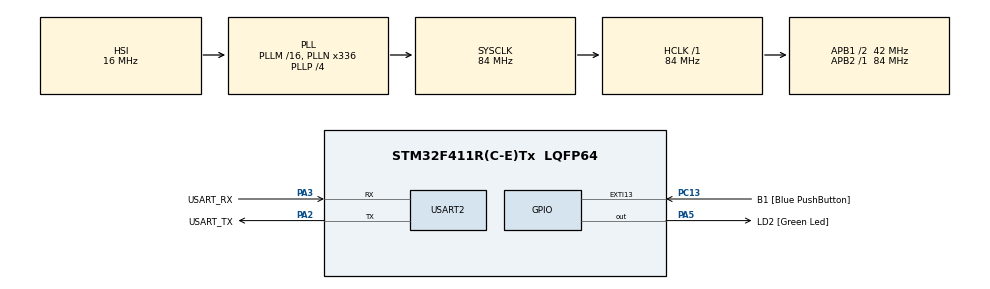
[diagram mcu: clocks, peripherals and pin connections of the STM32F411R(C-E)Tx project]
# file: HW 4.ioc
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IWDG.Prescaler=IWDG_PRESCALER_64
Mcu.Family=STM32F4
Mcu.Name=STM32F411R(C-E)Tx
Mcu.Package=LQFP64
NVIC.PriorityGroup=NVIC_PRIORITYGROUP_0
PA13.GPIO_Label=TMS
PA13.Mode=Serial_Wire
PA13.Signal=SYS_JTMS-SWDIO
PA14.GPIO_Label=TCK
PA14.Mode=Serial_Wire
PA14.Signal=SYS_JTCK-SWCLK
PA2.GPIO_Label=USART_TX
PA2.Mode=Asynchronous
PA2.Signal=USART2_TX
PA3.GPIO_Label=USART_RX
PA3.Mode=Asynchronous
PA3.Signal=USART2_RX
PA5.GPIO_Label=LD2 [Green Led]
PA5.Signal=GPIO_Output
PB3.GPIO_Label=SWO
PB3.Signal=SYS_JTDO-SWO
PC13-ANTI_TAMP.GPIO_Label=B1 [Blue PushButton]
PC13-ANTI_TAMP.GPIO_ModeDefaultEXTI=GPIO_MODE_IT_FALLING
PC13-ANTI_TAMP.Signal=GPXTI13
PC14-OSC32_IN.Mode=LSE-External-Oscillator
PC14-OSC32_IN.Signal=RCC_OSC32_IN
PC15-OSC32_OUT.Mode=LSE-External-Oscillator
PC15-OSC32_OUT.Signal=RCC_OSC32_OUT
PH0\ -\ OSC_IN.Mode=HSE-External-Clock-Source
PH0\ -\ OSC_IN.Signal=RCC_OSC_IN
PH1\ -\ OSC_OUT.Mode=HSE-External-Clock-Source
PH1\ -\ OSC_OUT.Signal=RCC_OSC_OUT
ProjectManager.HeapSize=0x200
ProjectManager.StackSize=0x400
ProjectManager.TargetToolchain=STM32CubeIDE
RCC.48MHZClocksFreq_Value=84000000
RCC.AHBFreq_Value=84000000
RCC.APB1CLKDivider=RCC_HCLK_DIV2
RCC.APB1Freq_Value=42000000
RCC.APB1TimFreq_Value=84000000
RCC.APB2Freq_Value=84000000
RCC.APB2TimFreq_Value=84000000
RCC.CortexFreq_Value=84000000
RCC.FLatency-AdvancedSettings=FLASH_LATENCY_2
RCC.HCLKFreq_Value=84000000
RCC.HSE_VALUE=8000000
RCC.HSI_VALUE=16000000
RCC.PLLN=336
RCC.PLLP=RCC_PLLP_DIV4
RCC.SYSCLKFreq_VALUE=84000000
RCC.SYSCLKSource=RCC_SYSCLKSOURCE_PLLCLK
RCC.VCOOutputFreq_Value=336000000
USART2.VirtualMode=VM_ASYNC
VP_IWDG_VS_IWDG.Mode=IWDG_Activate
board=NUCLEO-F411RE

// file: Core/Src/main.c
/* USER CODE BEGIN Header */
/**
  ******************************************************************************
  * @file           : main.c
  * @brief          : Main program body
  ******************************************************************************
  * @attention
  *
  * Copyright (c) 2026 STMicroelectronics.
  * All rights reserved.
  *
  * This software is licensed under terms that can be found in the LICENSE file
  * in the root directory of this software component.
  * If no LICENSE file comes with this software, it is provided AS-IS.
  *
  ******************************************************************************
  */
/* USER CODE END Header */
#include "main.h"

/* USER CODE BEGIN Includes */
#include "stm32f4xx_ll_rcc.h"
/* USER CODE END Includes */

/* USER CODE BEGIN PD */
/* ------------------- НАСТРОЙКИ IWDG (сторожевой таймер) ------------------- */
// ============================================================================

/* ------------------- НАСТРОЙКИ LED ИНДИКАЦИИ ----------------------------- */
/* LED2 на NUCLEO-F411RE подключен к PA5 */
#define LED_PORT                GPIOA
#define LED_PIN                 GPIO_PIN_5

/* ------------------- НАСТРОЙКИ КНОПКИ ------------------------------------ */
/* Пользовательская кнопка на NUCLEO-F411RE подключена к PC13 */
#define BUTTON_PORT             GPIOC
#define BUTTON_PIN              GPIO_PIN_13
#define BUTTON_PRESSED          GPIO_PIN_RESET      /* Кнопка замыкает на GND */
#define BUTTON_DEBOUNCE_MS      50                  /* Антидребезг, мс */

/* Настройки таймингов */
#define MAIN_LOOP_PERIOD_MS     1       /* Частота основного цикла */
#define BUTTON_POLL_PERIOD_MS   10      /* Опрос кнопки каждые 10 мс */
#define DEBOUNCE_TIME_MS        50      /* Время антидребезга */
#define RELEASE_TIMEOUT_MS      2000    /* Макс. время удержания кнопки */
// ============================================================================

/* USER CODE END PD */

IWDG_HandleTypeDef hiwdg;

UART_HandleTypeDef huart2;

/* USER CODE BEGIN PV */
// ============================================================================

/* Структура для хранения сырых битов регистра CSR (для отладки) */
typedef struct
{
    uint32_t raw_value;      /* Полное значение регистра CSR */

    /* Биты состояния LSI (биты 0-1) */
    uint8_t lsion_0;           /* Бит 0 - LSI включен */
    uint8_t lsirdy_1;          /* Бит 1 - LSI готов */

    /* Флаги сброса (биты 25-31) */
    uint8_t borrst_25;          /* Бит 25 - BOR reset flag */
    uint8_t pinrst_26;          /* Бит 26 - PIN reset flag (кнопка Reset) */
    uint8_t porrst_27;          /* Бит 27 - POR/PDR reset flag (включение питания) */
    uint8_t sftrst_28;          /* Бит 28 - Software reset flag */
    uint8_t iwdgrst_29;          /* Бит 29 - IWDG reset flag */
    uint8_t wwdgrst_30;         /* Бит 30 - WWDG reset flag */
    uint8_t lpwrrst_31;         /* Бит 31 - Low-power reset flag */

    /* Бит управления */
    uint8_t rmvf_24;            /* Бит 24 - Remove reset flag (очистка) */
} RawCSR_t;

RawCSR_t g_csr = {0};    /* Для отладки: сырые флаги ДО очистки */

/* Таймеры для неблокирующей работы (в мс) */
typedef struct
{
    uint32_t main_loop;      /* Для периодических задач в main */
    uint32_t button_check;   /* Для опроса кнопки */
    uint32_t debounce_start; /* Начало дебаунса */
    uint32_t release_wait;   /* Таймаут ожидания отпускания */

    /* Флаги состояния кнопки */
    uint8_t button_state;    /* 0=отпущена, 1=нажата, 2=дебаунс, 3=ожидание отпускания */
    uint8_t feed_requested;  /* Флаг: нужно покормить IWDG */

} Timing_t;

Timing_t g_tim = {0};

/* Переменные для неблокирующего мигания LED */
static uint32_t last_led_toggle = 0;
static uint8_t led_state = 0;

// ============================================================================
/* USER CODE END PV */

void SystemClock_Config(void);
static void MX_GPIO_Init(void);
static void MX_USART2_UART_Init(void);
static void MX_IWDG_Init(void);
/* USER CODE BEGIN PFP */
// ============================================================================
static void Read_Raw_CSR(RawCSR_t *raw);
//static void Check_And_Feed_Watchdog(void);
void Error_Handler(void);
static uint8_t Check_Button_Simple(void);

// ============================================================================

/* USER CODE END PFP */

int main(void)
{

  /* MCU Configuration--------------------------------------------------------*/

  /* Reset of all peripherals, Initializes the Flash interface and the Systick. */
  HAL_Init();

  /* Configure the system clock */
  SystemClock_Config();

  /* Initialize all configured peripherals */
  MX_GPIO_Init();
  MX_USART2_UART_Init();
  MX_IWDG_Init();
  /* USER CODE BEGIN 2 */

  // ===========================================================================
  /* Чтение сырых флагов CSR ДО очистки (для отладки) */
  Read_Raw_CSR(&g_csr);

  /* LED индикация причины сброса (при старте) */
  /* LED индикация причины сброса (неблокирующая версия) */
  if (g_csr.iwdgrst_29)
  {
      uint32_t blink_start = HAL_GetTick();
      uint8_t blink_count = 0;
      uint8_t blink_state = 0;

      while (blink_count < 6)  /* 3 вспышки = 6 переключений */
      {
          uint32_t now = HAL_GetTick();
          if (now - blink_start >= 100)  /* 100 мс на состояние */
          {
              blink_start = now;
              blink_state = !blink_state;
              HAL_GPIO_WritePin(LED_PORT, LED_PIN, blink_state ? GPIO_PIN_SET : GPIO_PIN_RESET);
              if (blink_state == 0) blink_count++;  /* Считаем только выключения */
          }
      }
      HAL_GPIO_WritePin(LED_PORT, LED_PIN, GPIO_PIN_RESET);  /* Гарантированно выключить */
  }

  // ===========================================================================

  /* USER CODE END 2 */

  /* Infinite loop */
  /* USER CODE BEGIN WHILE */
  // ===========================================================================
  /* Инициализация переменных для неблокирующего тайминга */
  last_led_toggle = HAL_GetTick();

  while (1)
  {
      uint32_t now = HAL_GetTick();

      /* 1. Проверка кнопки и кормление watchdog*/
      if (Check_Button_Simple()) {
          HAL_IWDG_Refresh(&hiwdg);

          /* Визуальный отклик: короткая вспышка */
          HAL_GPIO_WritePin(LED_PORT, LED_PIN, GPIO_PIN_SET);
          /* Сбросим отклик через 50 мс в следующем шаге */
      }

      /* 2. Периодическое мигание LED (индикация работы) - 1 Гц */
      if (now - last_led_toggle >= 500)
      {
          last_led_toggle = now;
          led_state = !led_state;

          /* Меняем LED только если нет активного отклика на кнопку */
          /* (отклик сбрасывается автоматически при следующем проходе) */
          HAL_GPIO_WritePin(LED_PORT, LED_PIN, led_state ? GPIO_PIN_SET : GPIO_PIN_RESET);
      }

      // ===========================================================================
    /* USER CODE END WHILE */

  }
}

void SystemClock_Config(void)
{
  RCC_OscInitTypeDef RCC_OscInitStruct = {0};
  RCC_ClkInitTypeDef RCC_ClkInitStruct = {0};

  /** Configure the main internal regulator output voltage
  */
  __HAL_RCC_PWR_CLK_ENABLE();
  __HAL_PWR_VOLTAGESCALING_CONFIG(PWR_REGULATOR_VOLTAGE_SCALE1);

  /** Initializes the RCC Oscillators according to the specified parameters
  * in the RCC_OscInitTypeDef structure.
  */
  RCC_OscInitStruct.OscillatorType = RCC_OSCILLATORTYPE_HSI|RCC_OSCILLATORTYPE_LSI;
  RCC_OscInitStruct.HSIState = RCC_HSI_ON;
  RCC_OscInitStruct.HSICalibrationValue = RCC_HSICALIBRATION_DEFAULT;
  RCC_OscInitStruct.LSIState = RCC_LSI_ON;
  RCC_OscInitStruct.PLL.PLLState = RCC_PLL_ON;
  RCC_OscInitStruct.PLL.PLLSource = RCC_PLLSOURCE_HSI;
  RCC_OscInitStruct.PLL.PLLM = 16;
  RCC_OscInitStruct.PLL.PLLN = 336;
  RCC_OscInitStruct.PLL.PLLP = RCC_PLLP_DIV4;
  RCC_OscInitStruct.PLL.PLLQ = 4;
  if (HAL_RCC_OscConfig(&RCC_OscInitStruct) != HAL_OK)
  {
    Error_Handler();
  }

  /** Initializes the CPU, AHB and APB buses clocks
  */
  RCC_ClkInitStruct.ClockType = RCC_CLOCKTYPE_HCLK|RCC_CLOCKTYPE_SYSCLK
                              |RCC_CLOCKTYPE_PCLK1|RCC_CLOCKTYPE_PCLK2;
  RCC_ClkInitStruct.SYSCLKSource = RCC_SYSCLKSOURCE_PLLCLK;
  RCC_ClkInitStruct.AHBCLKDivider = RCC_SYSCLK_DIV1;
  RCC_ClkInitStruct.APB1CLKDivider = RCC_HCLK_DIV2;
  RCC_ClkInitStruct.APB2CLKDivider = RCC_HCLK_DIV1;

  if (HAL_RCC_ClockConfig(&RCC_ClkInitStruct, FLASH_LATENCY_2) != HAL_OK)
  {
    Error_Handler();
  }
}

static void MX_IWDG_Init(void)
{

  hiwdg.Instance = IWDG;
  hiwdg.Init.Prescaler = IWDG_PRESCALER_64;
  hiwdg.Init.Reload = 4095;
  if (HAL_IWDG_Init(&hiwdg) != HAL_OK)
  {
    Error_Handler();
  }

}

static void MX_USART2_UART_Init(void)
{

  huart2.Instance = USART2;
  huart2.Init.BaudRate = 115200;
  huart2.Init.WordLength = UART_WORDLENGTH_8B;
  huart2.Init.StopBits = UART_STOPBITS_1;
  huart2.Init.Parity = UART_PARITY_NONE;
  huart2.Init.Mode = UART_MODE_TX_RX;
  huart2.Init.HwFlowCtl = UART_HWCONTROL_NONE;
  huart2.Init.OverSampling = UART_OVERSAMPLING_16;
  if (HAL_UART_Init(&huart2) != HAL_OK)
  {
    Error_Handler();
  }

}

static void MX_GPIO_Init(void)
{
  GPIO_InitTypeDef GPIO_InitStruct = {0};

  /* GPIO Ports Clock Enable */
  __HAL_RCC_GPIOC_CLK_ENABLE();
  __HAL_RCC_GPIOH_CLK_ENABLE();
  __HAL_RCC_GPIOA_CLK_ENABLE();
  __HAL_RCC_GPIOB_CLK_ENABLE();

  /*Configure GPIO pin Output Level */
  HAL_GPIO_WritePin(LD2_GPIO_Port, LD2_Pin, GPIO_PIN_RESET);

  /*Configure GPIO pin : B1_Pin */
  GPIO_InitStruct.Pin = B1_Pin;
  GPIO_InitStruct.Mode = GPIO_MODE_IT_FALLING;
  GPIO_InitStruct.Pull = GPIO_NOPULL;
  HAL_GPIO_Init(B1_GPIO_Port, &GPIO_InitStruct);

  /*Configure GPIO pin : LD2_Pin */
  GPIO_InitStruct.Pin = LD2_Pin;
  GPIO_InitStruct.Mode = GPIO_MODE_OUTPUT_PP;
  GPIO_InitStruct.Pull = GPIO_NOPULL;
  GPIO_InitStruct.Speed = GPIO_SPEED_FREQ_LOW;
  HAL_GPIO_Init(LD2_GPIO_Port, &GPIO_InitStruct);

}

/* USER CODE BEGIN 4 */
// ===========================================================================

/* ============================================================================
 * ФУНКЦИЯ ЧТЕНИЯ СЫРЫХ ФЛАГОВ CSR (ДЛЯ ОТЛАДКИ)
 * ============================================================================ */
/**
 * @brief  Чтение регистра RCC_CSR и заполнение структуры RawCSR_t
 * @param  raw  Указатель на структуру для заполнения
 */
static void Read_Raw_CSR(RawCSR_t *raw)
{
    uint32_t csr = RCC->CSR;

    raw->raw_value = csr;

    /* Биты LSI (биты 0-1) */
    raw->lsion_0  = (csr & RCC_CSR_LSION) ? 1 : 0;
    raw->lsirdy_1 = (csr & RCC_CSR_LSIRDY) ? 1 : 0;

    /* Флаги сброса (биты 25-31) */
    raw->borrst_25  = (csr & RCC_CSR_BORRSTF) ? 1 : 0;   /* Бит 25 */
    raw->pinrst_26  = (csr & RCC_CSR_PINRSTF) ? 1 : 0;   /* Бит 26 */
    raw->porrst_27  = (csr & RCC_CSR_PORRSTF) ? 1 : 0;   /* Бит 27 */
    raw->sftrst_28  = (csr & RCC_CSR_SFTRSTF) ? 1 : 0;   /* Бит 28 */
    raw->iwdgrst_29 = (csr & RCC_CSR_IWDGRSTF) ? 1 : 0;  /* Бит 29 */
    raw->wwdgrst_30 = (csr & RCC_CSR_WWDGRSTF) ? 1 : 0;  /* Бит 30 */
    raw->lpwrrst_31 = (csr & RCC_CSR_LPWRRSTF) ? 1 : 0;  /* Бит 31 */

    /* Бит управления */
    raw->rmvf_24 = (csr & RCC_CSR_RMVF) ? 1 : 0;          /* Бит 24 */

    /* Очистка флагов сброса для следующего запуска */
    LL_RCC_ClearResetFlags();
}

/* ============================================================================
 * ФУНКЦИИ РАБОТЫ СО СТОРОЖЕВЫМ ТАЙМЕРОМ
 * ============================================================================ */

/**
 * @brief Упрощённая неблокирующая проверка кнопки с антидребезгом
 * @retval 1 если кнопка была корректно нажата (можно кормить IWDG)
 * @note Вызывать каждые ~10 мс из основного цикла
 */
static uint8_t Check_Button_Simple(void)
{
	/* Упрощённая обработка кнопки */
	static uint8_t last_btn = 1;        /* 1 = отпущена (pull-up) */
	static uint8_t debounce_cnt = 0;    /* Счётчик антидребезга */

    uint8_t cur = HAL_GPIO_ReadPin(BUTTON_PORT, BUTTON_PIN);

    /* Если состояние изменилось — сбрасываем счётчик дебаунса */
    if (cur != last_btn) {
        debounce_cnt = 0;
        last_btn = cur;
    }
    /* Если состояние стабильно — считаем */
    else {
        /* Считаем только если кнопка нажата */
        if (cur == BUTTON_PRESSED) {
            if (++debounce_cnt >= 5) {  /* 5 * ~10мс = 50мс дебаунс */
                debounce_cnt = 5;        /* Защита от переполнения */
                last_btn = 1;            /* Сброс для следующего нажатия */
                return 1;                /* Нажатие подтверждено! */
            }
        } else {
            /* Кнопка отпущена — сбрасываем счётчик */
            debounce_cnt = 0;
        }
    }
    return 0;  /* Нажатие не подтверждено */
}

// ===========================================================================
/* USER CODE END 4 */

void Error_Handler(void)
{
  /* USER CODE BEGIN Error_Handler_Debug */
  /* User can add his own implementation to report the HAL error return state */
  __disable_irq();
  while (1)
  {
      HAL_GPIO_WritePin(LED_PORT, LED_PIN, GPIO_PIN_SET);
      HAL_Delay(100);
      HAL_GPIO_WritePin(LED_PORT, LED_PIN, GPIO_PIN_RESET);
      HAL_Delay(100);
  }
  /* USER CODE END Error_Handler_Debug */
}
